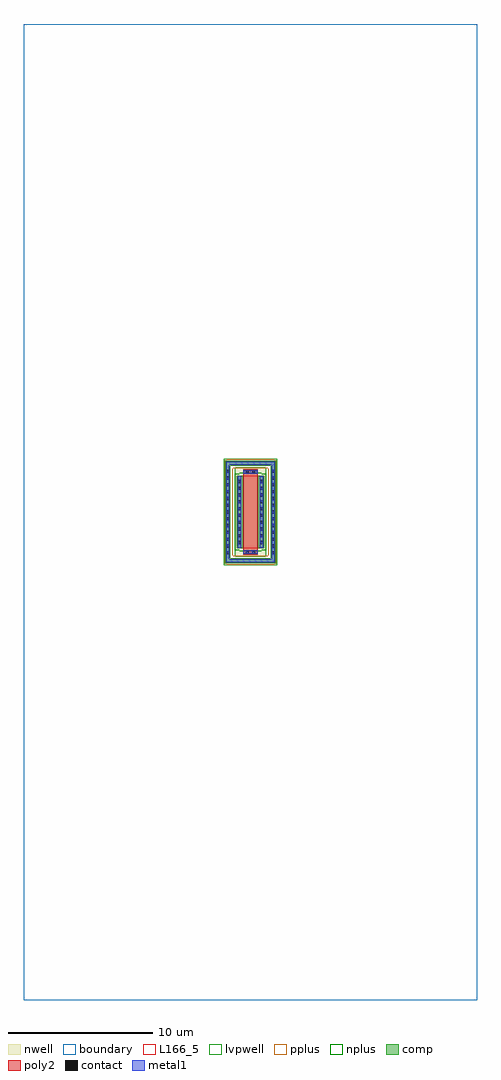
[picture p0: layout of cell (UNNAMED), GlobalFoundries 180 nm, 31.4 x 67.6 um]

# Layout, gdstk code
import gdstk
lib = gdstk.Library(unit=1e-6, precision=1e-09)
def R(c, l, rs):  # rectangles x0, y0, x1, y1
    for r in rs: c.add(gdstk.rectangle(r[:2], r[2:], *l))
def A(c, l, x, y, w, h, nx, ny, dx, dy):  # array of equal rectangles
    R(c, l, [(x+i*dx, y+j*dy, x+i*dx+w, y+j*dy+h) for i in range(nx) for j in range(ny)])
boundary = (0, 0)
nwell = (21, 0)
comp = (22, 0)
poly2 = (30, 0)
pplus = (31, 0)
nplus = (32, 0)
contact = (33, 0)
metal1 = (34, 0)
L166_5 = (166, 5)
lvpwell = (204, 0)

c__unnamed_ = lib.new_cell('(UNNAMED)')
R(c__unnamed_, boundary, [(-15.7,-33.8,15.7,33.8)])
R(c__unnamed_, nwell, [(-1.06,-3.08,1.06,3.08)])
R(c__unnamed_, comp, [(-1.75,-3.56,1.75,-3.2), (-1.75,-3.2,-1.39,3.2), (1.39,-3.2,1.75,3.2), (-0.94,-2.5,-0.5,2.5), (0.5,-2.5,0.94,2.5), (-1.75,3.2,1.75,3.56)])
R(c__unnamed_, poly2, [(-0.5,-2.96,0.5,2.96)])
R(c__unnamed_, pplus, [(-1.65,-3.67,1.65,-3.58), (-1.77,-3.58,1.77,-3.075), (-1.78,-3.075,1.78,-3.04), (-1.78,-3.04,-1.23,3.04), (1.23,-3.04,1.78,3.04), (-1.78,3.04,1.78,3.075), (-1.77,3.075,1.77,3.58), (-1.65,3.58,1.65,3.67)])
R(c__unnamed_, nplus, [(-0.73,-2.73,0.73,-2.66), (-1.1,-2.66,1.1,2.66), (-0.73,2.66,0.73,2.73)])
A(c__unnamed_, contact, -1.68, -2.93, 0.22, 0.22, 1, 13, 0, 0.47)
A(c__unnamed_, contact, 1.46, -2.93, 0.22, 0.22, 1, 13, 0, 0.47)
A(c__unnamed_, contact, -0.87, -2.225, 0.22, 0.22, 1, 10, 0, 0.47)
A(c__unnamed_, contact, 0.65, -2.225, 0.22, 0.22, 1, 10, 0, 0.47)
R(c__unnamed_, contact, [(-0.345,-2.89,-0.125,-2.67), (0.125,-2.89,0.345,-2.67), (-0.345,2.67,-0.125,2.89), (0.125,2.67,0.345,2.89)])
R(c__unnamed_, metal1, [(-1.685,-3.495,1.685,-3.265), (-1.685,-3.265,-1.455,3.265), (1.455,-3.265,1.685,3.265), (-0.49,-2.895,0.49,-2.665), (-0.875,-2.49,-0.645,2.49), (0.645,-2.49,0.875,2.49), (-0.49,2.665,0.49,2.895), (-1.685,3.265,1.685,3.495)])
R(c__unnamed_, L166_5, [(-0.5,-2.5,0.5,2.5)])
R(c__unnamed_, lvpwell, [(-1.87,-3.68,1.87,-3.08), (-1.87,-3.08,-1.06,3.08), (1.06,-3.08,1.87,3.08), (-1.87,3.08,1.87,3.68)])

lib.write_gds('_UNNAMED_.gds')
